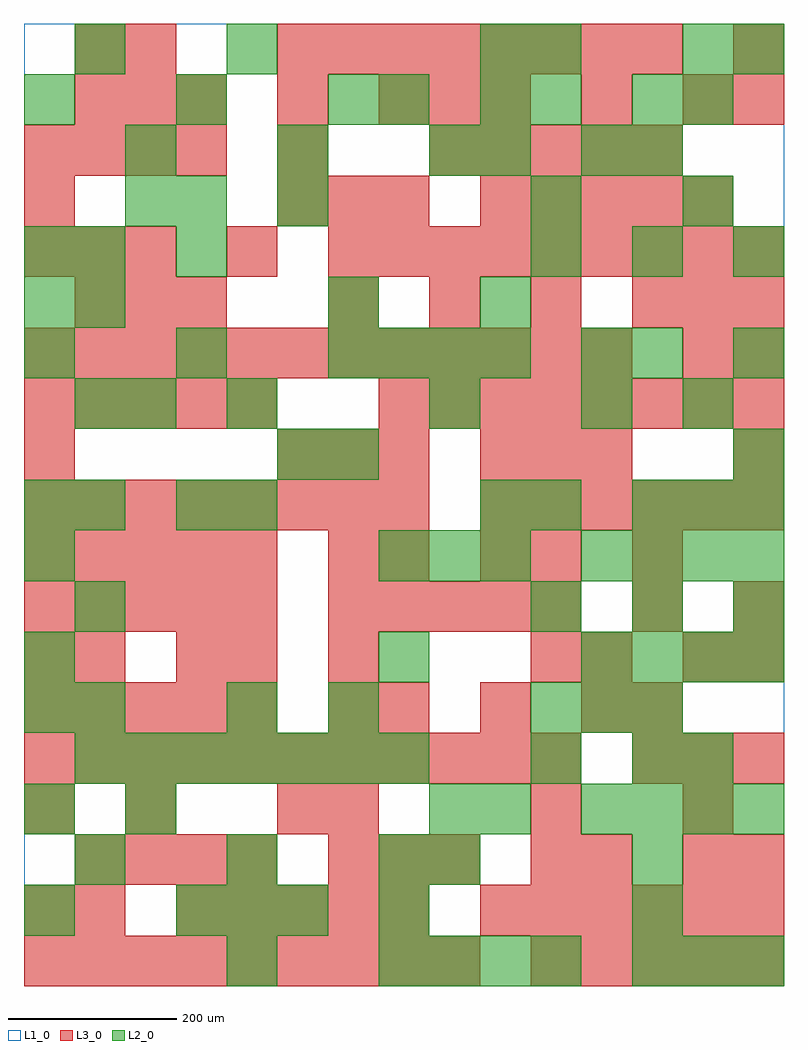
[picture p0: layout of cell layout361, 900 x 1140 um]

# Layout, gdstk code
import gdstk
lib = gdstk.Library(unit=1e-6, precision=1e-09)
def R(c, l, rs):  # rectangles x0, y0, x1, y1
    for r in rs: c.add(gdstk.rectangle(r[:2], r[2:], *l))
def A(c, l, x, y, w, h, nx, ny, dx, dy):  # array of equal rectangles
    R(c, l, [(x+i*dx, y+j*dy, x+i*dx+w, y+j*dy+h) for i in range(nx) for j in range(ny)])
L1_0 = (1, 0)
L2_0 = (2, 0)
L3_0 = (3, 0)

layout361 = lib.new_cell('layout361')
R(layout361, L1_0, [(0,0,900,1140)])
A(layout361, L2_0, 420, 0, 60, 60, 4, 1, 60, 0)
A(layout361, L2_0, 720, 0, 60, 60, 3, 2, 60, 540)
A(layout361, L2_0, 0, 60, 60, 60, 1, 3, 0, 120)
A(layout361, L2_0, 180, 60, 60, 60, 3, 1, 60, 0)
A(layout361, L2_0, 60, 120, 60, 60, 3, 1, 180, 0)
A(layout361, L2_0, 660, 180, 60, 60, 4, 2, 60, 180)
A(layout361, L2_0, 60, 240, 60, 60, 7, 1, 60, 0)
A(layout361, L2_0, 60, 300, 60, 60, 1, 5, 0, 120)
A(layout361, L2_0, 600, 300, 60, 60, 3, 1, 60, 0)
A(layout361, L2_0, 600, 420, 60, 60, 3, 2, 120, 420)
A(layout361, L2_0, 420, 480, 60, 60, 3, 2, 60, 240)
A(layout361, L2_0, 660, 480, 60, 60, 4, 1, 60, 0)
A(layout361, L2_0, 0, 720, 60, 60, 3, 2, 180, 300)
A(layout361, L2_0, 120, 960, 60, 60, 3, 1, 180, 0)
A(layout361, L2_0, 540, 960, 60, 60, 1, 3, 0, 60)
R(layout361, L2_0, [(240,0,300,60), (420,60,480,120), (720,60,780,120), (480,120,540,180), (720,120,780,180), (120,180,180,240), (480,180,540,240), (540,180,600,240), (600,240,660,300), (720,240,780,300), (780,240,840,300), (240,300,300,360), (360,300,420,360), (0,360,60,420), (420,360,480,420), (0,480,60,540), (0,540,60,600), (180,540,240,600), (240,540,300,600), (540,540,600,600), (600,540,660,600), (300,600,360,660), (360,600,420,660), (840,600,900,660), (120,660,180,720), (240,660,300,720), (480,660,540,720), (660,660,720,720), (780,660,840,720), (660,720,720,780), (720,720,780,780), (840,720,900,780), (0,780,60,840), (360,780,420,840), (540,780,600,840), (0,840,60,900), (60,840,120,900), (180,840,240,900), (120,900,180,960), (180,900,240,960), (300,900,360,960), (600,900,660,960), (780,900,840,960), (660,960,720,1020), (720,960,780,1020), (420,1020,480,1080), (600,1020,660,1080), (720,1020,780,1080), (780,1020,840,1080), (60,1080,120,1140), (240,1080,300,1140), (600,1080,660,1140), (780,1080,840,1140), (840,1080,900,1140)])
A(layout361, L3_0, 0, 0, 60, 60, 9, 1, 60, 0)
A(layout361, L3_0, 600, 0, 60, 60, 5, 1, 60, 0)
A(layout361, L3_0, 180, 60, 60, 60, 5, 1, 60, 0)
A(layout361, L3_0, 540, 60, 60, 60, 6, 2, 60, 480)
A(layout361, L3_0, 60, 120, 60, 60, 4, 1, 60, 0)
A(layout361, L3_0, 360, 120, 60, 60, 3, 1, 60, 0)
A(layout361, L3_0, 0, 240, 60, 60, 11, 1, 60, 0)
A(layout361, L3_0, 720, 240, 60, 60, 3, 1, 60, 0)
A(layout361, L3_0, 0, 300, 60, 60, 5, 2, 60, 120)
A(layout361, L3_0, 420, 300, 60, 60, 3, 1, 120, 0)
A(layout361, L3_0, 360, 420, 60, 60, 5, 1, 60, 0)
A(layout361, L3_0, 0, 480, 60, 60, 5, 2, 60, 180)
A(layout361, L3_0, 0, 540, 60, 60, 8, 1, 60, 0)
A(layout361, L3_0, 300, 600, 60, 60, 3, 2, 60, 300)
A(layout361, L3_0, 540, 600, 60, 60, 3, 1, 60, 0)
A(layout361, L3_0, 420, 660, 60, 60, 8, 1, 60, 0)
A(layout361, L3_0, 0, 720, 60, 60, 12, 1, 60, 0)
A(layout361, L3_0, 60, 780, 60, 60, 3, 2, 60, 240)
A(layout361, L3_0, 360, 780, 60, 60, 4, 1, 120, 0)
A(layout361, L3_0, 0, 840, 60, 60, 3, 1, 60, 0)
A(layout361, L3_0, 360, 840, 60, 60, 9, 1, 60, 0)
A(layout361, L3_0, 540, 900, 60, 60, 5, 1, 60, 0)
A(layout361, L3_0, 0, 960, 60, 60, 4, 1, 60, 0)
A(layout361, L3_0, 480, 960, 60, 60, 5, 1, 60, 0)
A(layout361, L3_0, 420, 1020, 60, 60, 3, 1, 60, 0)
A(layout361, L3_0, 300, 1080, 60, 60, 8, 1, 60, 0)
R(layout361, L3_0, [(0,60,60,120), (60,60,120,120), (600,120,660,180), (660,120,720,180), (780,120,840,180), (840,120,900,180), (0,180,60,240), (120,180,180,240), (300,180,360,240), (360,180,420,240), (600,180,660,240), (780,180,840,240), (360,300,420,360), (720,300,780,360), (0,360,60,420), (60,360,120,420), (180,360,240,420), (240,360,300,420), (360,360,420,420), (600,360,660,420), (660,360,720,420), (780,360,840,420), (840,360,900,420), (720,420,780,480), (840,420,900,480), (360,480,420,540), (420,480,480,540), (540,480,600,540), (600,480,660,540), (720,480,780,540), (0,600,60,660), (840,600,900,660), (780,720,840,780), (840,720,900,780), (780,780,840,840), (840,780,900,840), (240,840,300,900), (0,900,60,960), (300,960,360,1020), (300,1020,360,1080), (660,1020,720,1080), (780,1020,840,1080), (840,1020,900,1080), (60,1080,120,1140), (120,1080,180,1140), (840,1080,900,1140)])

lib.write_gds('layout361.gds')
